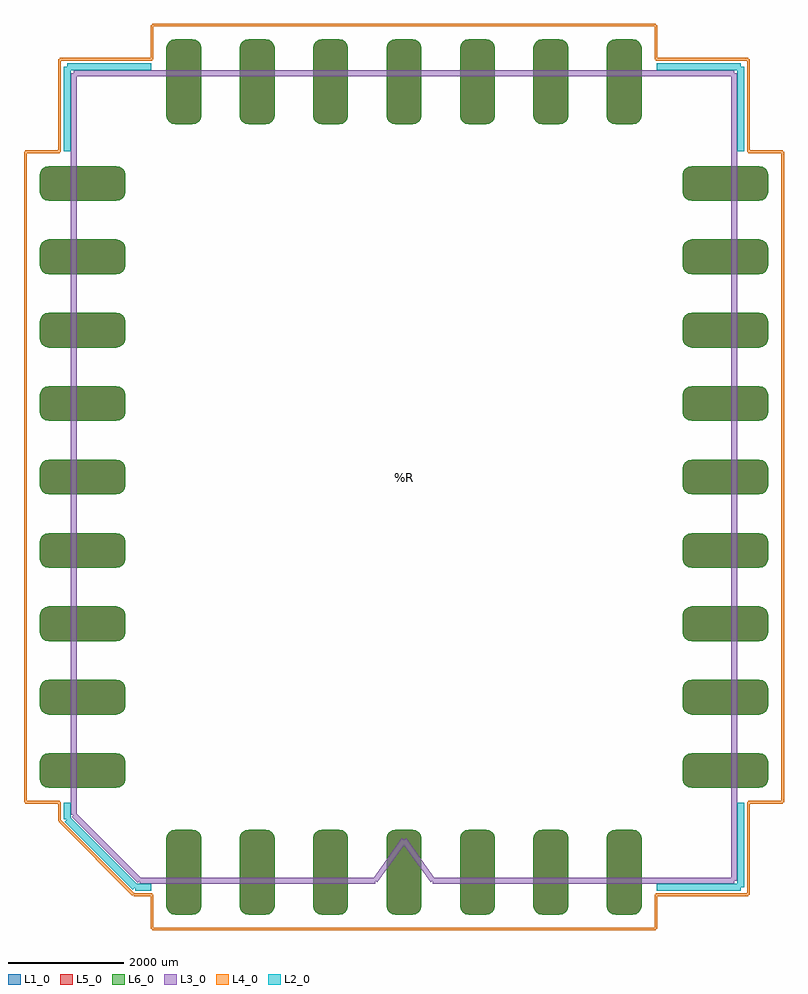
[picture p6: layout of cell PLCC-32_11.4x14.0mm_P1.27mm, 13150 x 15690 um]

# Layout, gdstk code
import gdstk
lib = gdstk.Library(unit=1e-6, precision=1e-09)
def P(c, l, *ps):  # polygons
    for p in ps: c.add(gdstk.Polygon(p, *l))
L1_0 = (1, 0)
L2_0 = (2, 0)
L3_0 = (3, 0)
L4_0 = (4, 0)
L5_0 = (5, 0)
L6_0 = (6, 0)

plcc_32_11_4x14_0mm_p1_2 = lib.new_cell('PLCC-32_11.4x14.0mm_P1.27mm')
P(plcc_32_11_4x14_0mm_p1_2, L1_0, [(150,-7575),(207,-7564),(256,-7531),(289,-7482),(300,-7425),(300,-6250),(289,-6193),(256,-6144),(207,-6111),(150,-6100),(-150,-6100),(-207,-6111),(-256,-6144),(-289,-6193),(-300,-6250),(-300,-7425),(-289,-7482),(-256,-7531),(-207,-7564),(-150,-7575)],
  [(-1120,-7575),(-1063,-7564),(-1014,-7531),(-981,-7482),(-970,-7425),(-970,-6250),(-981,-6193),(-1014,-6144),(-1063,-6111),(-1120,-6100),(-1420,-6100),(-1477,-6111),(-1526,-6144),(-1559,-6193),(-1570,-6250),(-1570,-7425),(-1559,-7482),(-1526,-7531),(-1477,-7564),(-1420,-7575)],
  [(-2390,-7575),(-2333,-7564),(-2284,-7531),(-2251,-7482),(-2240,-7425),(-2240,-6250),(-2251,-6193),(-2284,-6144),(-2333,-6111),(-2390,-6100),(-2690,-6100),(-2747,-6111),(-2796,-6144),(-2829,-6193),(-2840,-6250),(-2840,-7425),(-2829,-7482),(-2796,-7531),(-2747,-7564),(-2690,-7575)],
  [(-3660,-7575),(-3603,-7564),(-3554,-7531),(-3521,-7482),(-3510,-7425),(-3510,-6250),(-3521,-6193),(-3554,-6144),(-3603,-6111),(-3660,-6100),(-3960,-6100),(-4017,-6111),(-4066,-6144),(-4099,-6193),(-4110,-6250),(-4110,-7425),(-4099,-7482),(-4066,-7531),(-4017,-7564),(-3960,-7575)],
  [(-4975,-5380),(-4918,-5369),(-4869,-5336),(-4836,-5287),(-4825,-5230),(-4825,-4930),(-4836,-4873),(-4869,-4824),(-4918,-4791),(-4975,-4780),(-6150,-4780),(-6207,-4791),(-6256,-4824),(-6289,-4873),(-6300,-4930),(-6300,-5230),(-6289,-5287),(-6256,-5336),(-6207,-5369),(-6150,-5380)],
  [(-4975,-4110),(-4918,-4099),(-4869,-4066),(-4836,-4017),(-4825,-3960),(-4825,-3660),(-4836,-3603),(-4869,-3554),(-4918,-3521),(-4975,-3510),(-6150,-3510),(-6207,-3521),(-6256,-3554),(-6289,-3603),(-6300,-3660),(-6300,-3960),(-6289,-4017),(-6256,-4066),(-6207,-4099),(-6150,-4110)],
  [(-4975,-2840),(-4918,-2829),(-4869,-2796),(-4836,-2747),(-4825,-2690),(-4825,-2390),(-4836,-2333),(-4869,-2284),(-4918,-2251),(-4975,-2240),(-6150,-2240),(-6207,-2251),(-6256,-2284),(-6289,-2333),(-6300,-2390),(-6300,-2690),(-6289,-2747),(-6256,-2796),(-6207,-2829),(-6150,-2840)],
  [(-4975,-1570),(-4918,-1559),(-4869,-1526),(-4836,-1477),(-4825,-1420),(-4825,-1120),(-4836,-1063),(-4869,-1014),(-4918,-981),(-4975,-970),(-6150,-970),(-6207,-981),(-6256,-1014),(-6289,-1063),(-6300,-1120),(-6300,-1420),(-6289,-1477),(-6256,-1526),(-6207,-1559),(-6150,-1570)],
  [(-4975,-300),(-4918,-289),(-4869,-256),(-4836,-207),(-4825,-150),(-4825,150),(-4836,207),(-4869,256),(-4918,289),(-4975,300),(-6150,300),(-6207,289),(-6256,256),(-6289,207),(-6300,150),(-6300,-150),(-6289,-207),(-6256,-256),(-6207,-289),(-6150,-300)],
  [(-4975,970),(-4918,981),(-4869,1014),(-4836,1063),(-4825,1120),(-4825,1420),(-4836,1477),(-4869,1526),(-4918,1559),(-4975,1570),(-6150,1570),(-6207,1559),(-6256,1526),(-6289,1477),(-6300,1420),(-6300,1120),(-6289,1063),(-6256,1014),(-6207,981),(-6150,970)],
  [(-4975,2240),(-4918,2251),(-4869,2284),(-4836,2333),(-4825,2390),(-4825,2690),(-4836,2747),(-4869,2796),(-4918,2829),(-4975,2840),(-6150,2840),(-6207,2829),(-6256,2796),(-6289,2747),(-6300,2690),(-6300,2390),(-6289,2333),(-6256,2284),(-6207,2251),(-6150,2240)],
  [(-4975,3510),(-4918,3521),(-4869,3554),(-4836,3603),(-4825,3660),(-4825,3960),(-4836,4017),(-4869,4066),(-4918,4099),(-4975,4110),(-6150,4110),(-6207,4099),(-6256,4066),(-6289,4017),(-6300,3960),(-6300,3660),(-6289,3603),(-6256,3554),(-6207,3521),(-6150,3510)],
  [(-4975,4780),(-4918,4791),(-4869,4824),(-4836,4873),(-4825,4930),(-4825,5230),(-4836,5287),(-4869,5336),(-4918,5369),(-4975,5380),(-6150,5380),(-6207,5369),(-6256,5336),(-6289,5287),(-6300,5230),(-6300,4930),(-6289,4873),(-6256,4824),(-6207,4791),(-6150,4780)],
  [(-3660,6100),(-3603,6111),(-3554,6144),(-3521,6193),(-3510,6250),(-3510,7425),(-3521,7482),(-3554,7531),(-3603,7564),(-3660,7575),(-3960,7575),(-4017,7564),(-4066,7531),(-4099,7482),(-4110,7425),(-4110,6250),(-4099,6193),(-4066,6144),(-4017,6111),(-3960,6100)],
  [(-2390,6100),(-2333,6111),(-2284,6144),(-2251,6193),(-2240,6250),(-2240,7425),(-2251,7482),(-2284,7531),(-2333,7564),(-2390,7575),(-2690,7575),(-2747,7564),(-2796,7531),(-2829,7482),(-2840,7425),(-2840,6250),(-2829,6193),(-2796,6144),(-2747,6111),(-2690,6100)],
  [(-1120,6100),(-1063,6111),(-1014,6144),(-981,6193),(-970,6250),(-970,7425),(-981,7482),(-1014,7531),(-1063,7564),(-1120,7575),(-1420,7575),(-1477,7564),(-1526,7531),(-1559,7482),(-1570,7425),(-1570,6250),(-1559,6193),(-1526,6144),(-1477,6111),(-1420,6100)],
  [(150,6100),(207,6111),(256,6144),(289,6193),(300,6250),(300,7425),(289,7482),(256,7531),(207,7564),(150,7575),(-150,7575),(-207,7564),(-256,7531),(-289,7482),(-300,7425),(-300,6250),(-289,6193),(-256,6144),(-207,6111),(-150,6100)],
  [(1420,6100),(1477,6111),(1526,6144),(1559,6193),(1570,6250),(1570,7425),(1559,7482),(1526,7531),(1477,7564),(1420,7575),(1120,7575),(1063,7564),(1014,7531),(981,7482),(970,7425),(970,6250),(981,6193),(1014,6144),(1063,6111),(1120,6100)],
  [(2690,6100),(2747,6111),(2796,6144),(2829,6193),(2840,6250),(2840,7425),(2829,7482),(2796,7531),(2747,7564),(2690,7575),(2390,7575),(2333,7564),(2284,7531),(2251,7482),(2240,7425),(2240,6250),(2251,6193),(2284,6144),(2333,6111),(2390,6100)],
  [(3960,6100),(4017,6111),(4066,6144),(4099,6193),(4110,6250),(4110,7425),(4099,7482),(4066,7531),(4017,7564),(3960,7575),(3660,7575),(3603,7564),(3554,7531),(3521,7482),(3510,7425),(3510,6250),(3521,6193),(3554,6144),(3603,6111),(3660,6100)],
  [(6150,4780),(6207,4791),(6256,4824),(6289,4873),(6300,4930),(6300,5230),(6289,5287),(6256,5336),(6207,5369),(6150,5380),(4975,5380),(4918,5369),(4869,5336),(4836,5287),(4825,5230),(4825,4930),(4836,4873),(4869,4824),(4918,4791),(4975,4780)],
  [(6150,3510),(6207,3521),(6256,3554),(6289,3603),(6300,3660),(6300,3960),(6289,4017),(6256,4066),(6207,4099),(6150,4110),(4975,4110),(4918,4099),(4869,4066),(4836,4017),(4825,3960),(4825,3660),(4836,3603),(4869,3554),(4918,3521),(4975,3510)],
  [(6150,2240),(6207,2251),(6256,2284),(6289,2333),(6300,2390),(6300,2690),(6289,2747),(6256,2796),(6207,2829),(6150,2840),(4975,2840),(4918,2829),(4869,2796),(4836,2747),(4825,2690),(4825,2390),(4836,2333),(4869,2284),(4918,2251),(4975,2240)],
  [(6150,970),(6207,981),(6256,1014),(6289,1063),(6300,1120),(6300,1420),(6289,1477),(6256,1526),(6207,1559),(6150,1570),(4975,1570),(4918,1559),(4869,1526),(4836,1477),(4825,1420),(4825,1120),(4836,1063),(4869,1014),(4918,981),(4975,970)],
  [(6150,-300),(6207,-289),(6256,-256),(6289,-207),(6300,-150),(6300,150),(6289,207),(6256,256),(6207,289),(6150,300),(4975,300),(4918,289),(4869,256),(4836,207),(4825,150),(4825,-150),(4836,-207),(4869,-256),(4918,-289),(4975,-300)],
  [(6150,-1570),(6207,-1559),(6256,-1526),(6289,-1477),(6300,-1420),(6300,-1120),(6289,-1063),(6256,-1014),(6207,-981),(6150,-970),(4975,-970),(4918,-981),(4869,-1014),(4836,-1063),(4825,-1120),(4825,-1420),(4836,-1477),(4869,-1526),(4918,-1559),(4975,-1570)],
  [(6150,-2840),(6207,-2829),(6256,-2796),(6289,-2747),(6300,-2690),(6300,-2390),(6289,-2333),(6256,-2284),(6207,-2251),(6150,-2240),(4975,-2240),(4918,-2251),(4869,-2284),(4836,-2333),(4825,-2390),(4825,-2690),(4836,-2747),(4869,-2796),(4918,-2829),(4975,-2840)],
  [(6150,-4110),(6207,-4099),(6256,-4066),(6289,-4017),(6300,-3960),(6300,-3660),(6289,-3603),(6256,-3554),(6207,-3521),(6150,-3510),(4975,-3510),(4918,-3521),(4869,-3554),(4836,-3603),(4825,-3660),(4825,-3960),(4836,-4017),(4869,-4066),(4918,-4099),(4975,-4110)],
  [(6150,-5380),(6207,-5369),(6256,-5336),(6289,-5287),(6300,-5230),(6300,-4930),(6289,-4873),(6256,-4824),(6207,-4791),(6150,-4780),(4975,-4780),(4918,-4791),(4869,-4824),(4836,-4873),(4825,-4930),(4825,-5230),(4836,-5287),(4869,-5336),(4918,-5369),(4975,-5380)],
  [(3960,-7575),(4017,-7564),(4066,-7531),(4099,-7482),(4110,-7425),(4110,-6250),(4099,-6193),(4066,-6144),(4017,-6111),(3960,-6100),(3660,-6100),(3603,-6111),(3554,-6144),(3521,-6193),(3510,-6250),(3510,-7425),(3521,-7482),(3554,-7531),(3603,-7564),(3660,-7575)],
  [(2690,-7575),(2747,-7564),(2796,-7531),(2829,-7482),(2840,-7425),(2840,-6250),(2829,-6193),(2796,-6144),(2747,-6111),(2690,-6100),(2390,-6100),(2333,-6111),(2284,-6144),(2251,-6193),(2240,-6250),(2240,-7425),(2251,-7482),(2284,-7531),(2333,-7564),(2390,-7575)],
  [(1420,-7575),(1477,-7564),(1526,-7531),(1559,-7482),(1570,-7425),(1570,-6250),(1559,-6193),(1526,-6144),(1477,-6111),(1420,-6100),(1120,-6100),(1063,-6111),(1014,-6144),(981,-6193),(970,-6250),(970,-7425),(981,-7482),(1014,-7531),(1063,-7564),(1120,-7575)])
P(plcc_32_11_4x14_0mm_p1_2, L5_0, [(150,-7575),(207,-7564),(256,-7531),(289,-7482),(300,-7425),(300,-6250),(289,-6193),(256,-6144),(207,-6111),(150,-6100),(-150,-6100),(-207,-6111),(-256,-6144),(-289,-6193),(-300,-6250),(-300,-7425),(-289,-7482),(-256,-7531),(-207,-7564),(-150,-7575)],
  [(-1120,-7575),(-1063,-7564),(-1014,-7531),(-981,-7482),(-970,-7425),(-970,-6250),(-981,-6193),(-1014,-6144),(-1063,-6111),(-1120,-6100),(-1420,-6100),(-1477,-6111),(-1526,-6144),(-1559,-6193),(-1570,-6250),(-1570,-7425),(-1559,-7482),(-1526,-7531),(-1477,-7564),(-1420,-7575)],
  [(-2390,-7575),(-2333,-7564),(-2284,-7531),(-2251,-7482),(-2240,-7425),(-2240,-6250),(-2251,-6193),(-2284,-6144),(-2333,-6111),(-2390,-6100),(-2690,-6100),(-2747,-6111),(-2796,-6144),(-2829,-6193),(-2840,-6250),(-2840,-7425),(-2829,-7482),(-2796,-7531),(-2747,-7564),(-2690,-7575)],
  [(-3660,-7575),(-3603,-7564),(-3554,-7531),(-3521,-7482),(-3510,-7425),(-3510,-6250),(-3521,-6193),(-3554,-6144),(-3603,-6111),(-3660,-6100),(-3960,-6100),(-4017,-6111),(-4066,-6144),(-4099,-6193),(-4110,-6250),(-4110,-7425),(-4099,-7482),(-4066,-7531),(-4017,-7564),(-3960,-7575)],
  [(-4975,-5380),(-4918,-5369),(-4869,-5336),(-4836,-5287),(-4825,-5230),(-4825,-4930),(-4836,-4873),(-4869,-4824),(-4918,-4791),(-4975,-4780),(-6150,-4780),(-6207,-4791),(-6256,-4824),(-6289,-4873),(-6300,-4930),(-6300,-5230),(-6289,-5287),(-6256,-5336),(-6207,-5369),(-6150,-5380)],
  [(-4975,-4110),(-4918,-4099),(-4869,-4066),(-4836,-4017),(-4825,-3960),(-4825,-3660),(-4836,-3603),(-4869,-3554),(-4918,-3521),(-4975,-3510),(-6150,-3510),(-6207,-3521),(-6256,-3554),(-6289,-3603),(-6300,-3660),(-6300,-3960),(-6289,-4017),(-6256,-4066),(-6207,-4099),(-6150,-4110)],
  [(-4975,-2840),(-4918,-2829),(-4869,-2796),(-4836,-2747),(-4825,-2690),(-4825,-2390),(-4836,-2333),(-4869,-2284),(-4918,-2251),(-4975,-2240),(-6150,-2240),(-6207,-2251),(-6256,-2284),(-6289,-2333),(-6300,-2390),(-6300,-2690),(-6289,-2747),(-6256,-2796),(-6207,-2829),(-6150,-2840)],
  [(-4975,-1570),(-4918,-1559),(-4869,-1526),(-4836,-1477),(-4825,-1420),(-4825,-1120),(-4836,-1063),(-4869,-1014),(-4918,-981),(-4975,-970),(-6150,-970),(-6207,-981),(-6256,-1014),(-6289,-1063),(-6300,-1120),(-6300,-1420),(-6289,-1477),(-6256,-1526),(-6207,-1559),(-6150,-1570)],
  [(-4975,-300),(-4918,-289),(-4869,-256),(-4836,-207),(-4825,-150),(-4825,150),(-4836,207),(-4869,256),(-4918,289),(-4975,300),(-6150,300),(-6207,289),(-6256,256),(-6289,207),(-6300,150),(-6300,-150),(-6289,-207),(-6256,-256),(-6207,-289),(-6150,-300)],
  [(-4975,970),(-4918,981),(-4869,1014),(-4836,1063),(-4825,1120),(-4825,1420),(-4836,1477),(-4869,1526),(-4918,1559),(-4975,1570),(-6150,1570),(-6207,1559),(-6256,1526),(-6289,1477),(-6300,1420),(-6300,1120),(-6289,1063),(-6256,1014),(-6207,981),(-6150,970)],
  [(-4975,2240),(-4918,2251),(-4869,2284),(-4836,2333),(-4825,2390),(-4825,2690),(-4836,2747),(-4869,2796),(-4918,2829),(-4975,2840),(-6150,2840),(-6207,2829),(-6256,2796),(-6289,2747),(-6300,2690),(-6300,2390),(-6289,2333),(-6256,2284),(-6207,2251),(-6150,2240)],
  [(-4975,3510),(-4918,3521),(-4869,3554),(-4836,3603),(-4825,3660),(-4825,3960),(-4836,4017),(-4869,4066),(-4918,4099),(-4975,4110),(-6150,4110),(-6207,4099),(-6256,4066),(-6289,4017),(-6300,3960),(-6300,3660),(-6289,3603),(-6256,3554),(-6207,3521),(-6150,3510)],
  [(-4975,4780),(-4918,4791),(-4869,4824),(-4836,4873),(-4825,4930),(-4825,5230),(-4836,5287),(-4869,5336),(-4918,5369),(-4975,5380),(-6150,5380),(-6207,5369),(-6256,5336),(-6289,5287),(-6300,5230),(-6300,4930),(-6289,4873),(-6256,4824),(-6207,4791),(-6150,4780)],
  [(-3660,6100),(-3603,6111),(-3554,6144),(-3521,6193),(-3510,6250),(-3510,7425),(-3521,7482),(-3554,7531),(-3603,7564),(-3660,7575),(-3960,7575),(-4017,7564),(-4066,7531),(-4099,7482),(-4110,7425),(-4110,6250),(-4099,6193),(-4066,6144),(-4017,6111),(-3960,6100)],
  [(-2390,6100),(-2333,6111),(-2284,6144),(-2251,6193),(-2240,6250),(-2240,7425),(-2251,7482),(-2284,7531),(-2333,7564),(-2390,7575),(-2690,7575),(-2747,7564),(-2796,7531),(-2829,7482),(-2840,7425),(-2840,6250),(-2829,6193),(-2796,6144),(-2747,6111),(-2690,6100)],
  [(-1120,6100),(-1063,6111),(-1014,6144),(-981,6193),(-970,6250),(-970,7425),(-981,7482),(-1014,7531),(-1063,7564),(-1120,7575),(-1420,7575),(-1477,7564),(-1526,7531),(-1559,7482),(-1570,7425),(-1570,6250),(-1559,6193),(-1526,6144),(-1477,6111),(-1420,6100)],
  [(150,6100),(207,6111),(256,6144),(289,6193),(300,6250),(300,7425),(289,7482),(256,7531),(207,7564),(150,7575),(-150,7575),(-207,7564),(-256,7531),(-289,7482),(-300,7425),(-300,6250),(-289,6193),(-256,6144),(-207,6111),(-150,6100)],
  [(1420,6100),(1477,6111),(1526,6144),(1559,6193),(1570,6250),(1570,7425),(1559,7482),(1526,7531),(1477,7564),(1420,7575),(1120,7575),(1063,7564),(1014,7531),(981,7482),(970,7425),(970,6250),(981,6193),(1014,6144),(1063,6111),(1120,6100)],
  [(2690,6100),(2747,6111),(2796,6144),(2829,6193),(2840,6250),(2840,7425),(2829,7482),(2796,7531),(2747,7564),(2690,7575),(2390,7575),(2333,7564),(2284,7531),(2251,7482),(2240,7425),(2240,6250),(2251,6193),(2284,6144),(2333,6111),(2390,6100)],
  [(3960,6100),(4017,6111),(4066,6144),(4099,6193),(4110,6250),(4110,7425),(4099,7482),(4066,7531),(4017,7564),(3960,7575),(3660,7575),(3603,7564),(3554,7531),(3521,7482),(3510,7425),(3510,6250),(3521,6193),(3554,6144),(3603,6111),(3660,6100)],
  [(6150,4780),(6207,4791),(6256,4824),(6289,4873),(6300,4930),(6300,5230),(6289,5287),(6256,5336),(6207,5369),(6150,5380),(4975,5380),(4918,5369),(4869,5336),(4836,5287),(4825,5230),(4825,4930),(4836,4873),(4869,4824),(4918,4791),(4975,4780)],
  [(6150,3510),(6207,3521),(6256,3554),(6289,3603),(6300,3660),(6300,3960),(6289,4017),(6256,4066),(6207,4099),(6150,4110),(4975,4110),(4918,4099),(4869,4066),(4836,4017),(4825,3960),(4825,3660),(4836,3603),(4869,3554),(4918,3521),(4975,3510)],
  [(6150,2240),(6207,2251),(6256,2284),(6289,2333),(6300,2390),(6300,2690),(6289,2747),(6256,2796),(6207,2829),(6150,2840),(4975,2840),(4918,2829),(4869,2796),(4836,2747),(4825,2690),(4825,2390),(4836,2333),(4869,2284),(4918,2251),(4975,2240)],
  [(6150,970),(6207,981),(6256,1014),(6289,1063),(6300,1120),(6300,1420),(6289,1477),(6256,1526),(6207,1559),(6150,1570),(4975,1570),(4918,1559),(4869,1526),(4836,1477),(4825,1420),(4825,1120),(4836,1063),(4869,1014),(4918,981),(4975,970)],
  [(6150,-300),(6207,-289),(6256,-256),(6289,-207),(6300,-150),(6300,150),(6289,207),(6256,256),(6207,289),(6150,300),(4975,300),(4918,289),(4869,256),(4836,207),(4825,150),(4825,-150),(4836,-207),(4869,-256),(4918,-289),(4975,-300)],
  [(6150,-1570),(6207,-1559),(6256,-1526),(6289,-1477),(6300,-1420),(6300,-1120),(6289,-1063),(6256,-1014),(6207,-981),(6150,-970),(4975,-970),(4918,-981),(4869,-1014),(4836,-1063),(4825,-1120),(4825,-1420),(4836,-1477),(4869,-1526),(4918,-1559),(4975,-1570)],
  [(6150,-2840),(6207,-2829),(6256,-2796),(6289,-2747),(6300,-2690),(6300,-2390),(6289,-2333),(6256,-2284),(6207,-2251),(6150,-2240),(4975,-2240),(4918,-2251),(4869,-2284),(4836,-2333),(4825,-2390),(4825,-2690),(4836,-2747),(4869,-2796),(4918,-2829),(4975,-2840)],
  [(6150,-4110),(6207,-4099),(6256,-4066),(6289,-4017),(6300,-3960),(6300,-3660),(6289,-3603),(6256,-3554),(6207,-3521),(6150,-3510),(4975,-3510),(4918,-3521),(4869,-3554),(4836,-3603),(4825,-3660),(4825,-3960),(4836,-4017),(4869,-4066),(4918,-4099),(4975,-4110)],
  [(6150,-5380),(6207,-5369),(6256,-5336),(6289,-5287),(6300,-5230),(6300,-4930),(6289,-4873),(6256,-4824),(6207,-4791),(6150,-4780),(4975,-4780),(4918,-4791),(4869,-4824),(4836,-4873),(4825,-4930),(4825,-5230),(4836,-5287),(4869,-5336),(4918,-5369),(4975,-5380)],
  [(3960,-7575),(4017,-7564),(4066,-7531),(4099,-7482),(4110,-7425),(4110,-6250),(4099,-6193),(4066,-6144),(4017,-6111),(3960,-6100),(3660,-6100),(3603,-6111),(3554,-6144),(3521,-6193),(3510,-6250),(3510,-7425),(3521,-7482),(3554,-7531),(3603,-7564),(3660,-7575)],
  [(2690,-7575),(2747,-7564),(2796,-7531),(2829,-7482),(2840,-7425),(2840,-6250),(2829,-6193),(2796,-6144),(2747,-6111),(2690,-6100),(2390,-6100),(2333,-6111),(2284,-6144),(2251,-6193),(2240,-6250),(2240,-7425),(2251,-7482),(2284,-7531),(2333,-7564),(2390,-7575)],
  [(1420,-7575),(1477,-7564),(1526,-7531),(1559,-7482),(1570,-7425),(1570,-6250),(1559,-6193),(1526,-6144),(1477,-6111),(1420,-6100),(1120,-6100),(1063,-6111),(1014,-6144),(981,-6193),(970,-6250),(970,-7425),(981,-7482),(1014,-7531),(1063,-7564),(1120,-7575)])
P(plcc_32_11_4x14_0mm_p1_2, L6_0, [(150,-7575),(207,-7564),(256,-7531),(289,-7482),(300,-7425),(300,-6250),(289,-6193),(256,-6144),(207,-6111),(150,-6100),(-150,-6100),(-207,-6111),(-256,-6144),(-289,-6193),(-300,-6250),(-300,-7425),(-289,-7482),(-256,-7531),(-207,-7564),(-150,-7575)],
  [(-1120,-7575),(-1063,-7564),(-1014,-7531),(-981,-7482),(-970,-7425),(-970,-6250),(-981,-6193),(-1014,-6144),(-1063,-6111),(-1120,-6100),(-1420,-6100),(-1477,-6111),(-1526,-6144),(-1559,-6193),(-1570,-6250),(-1570,-7425),(-1559,-7482),(-1526,-7531),(-1477,-7564),(-1420,-7575)],
  [(-2390,-7575),(-2333,-7564),(-2284,-7531),(-2251,-7482),(-2240,-7425),(-2240,-6250),(-2251,-6193),(-2284,-6144),(-2333,-6111),(-2390,-6100),(-2690,-6100),(-2747,-6111),(-2796,-6144),(-2829,-6193),(-2840,-6250),(-2840,-7425),(-2829,-7482),(-2796,-7531),(-2747,-7564),(-2690,-7575)],
  [(-3660,-7575),(-3603,-7564),(-3554,-7531),(-3521,-7482),(-3510,-7425),(-3510,-6250),(-3521,-6193),(-3554,-6144),(-3603,-6111),(-3660,-6100),(-3960,-6100),(-4017,-6111),(-4066,-6144),(-4099,-6193),(-4110,-6250),(-4110,-7425),(-4099,-7482),(-4066,-7531),(-4017,-7564),(-3960,-7575)],
  [(-4975,-5380),(-4918,-5369),(-4869,-5336),(-4836,-5287),(-4825,-5230),(-4825,-4930),(-4836,-4873),(-4869,-4824),(-4918,-4791),(-4975,-4780),(-6150,-4780),(-6207,-4791),(-6256,-4824),(-6289,-4873),(-6300,-4930),(-6300,-5230),(-6289,-5287),(-6256,-5336),(-6207,-5369),(-6150,-5380)],
  [(-4975,-4110),(-4918,-4099),(-4869,-4066),(-4836,-4017),(-4825,-3960),(-4825,-3660),(-4836,-3603),(-4869,-3554),(-4918,-3521),(-4975,-3510),(-6150,-3510),(-6207,-3521),(-6256,-3554),(-6289,-3603),(-6300,-3660),(-6300,-3960),(-6289,-4017),(-6256,-4066),(-6207,-4099),(-6150,-4110)],
  [(-4975,-2840),(-4918,-2829),(-4869,-2796),(-4836,-2747),(-4825,-2690),(-4825,-2390),(-4836,-2333),(-4869,-2284),(-4918,-2251),(-4975,-2240),(-6150,-2240),(-6207,-2251),(-6256,-2284),(-6289,-2333),(-6300,-2390),(-6300,-2690),(-6289,-2747),(-6256,-2796),(-6207,-2829),(-6150,-2840)],
  [(-4975,-1570),(-4918,-1559),(-4869,-1526),(-4836,-1477),(-4825,-1420),(-4825,-1120),(-4836,-1063),(-4869,-1014),(-4918,-981),(-4975,-970),(-6150,-970),(-6207,-981),(-6256,-1014),(-6289,-1063),(-6300,-1120),(-6300,-1420),(-6289,-1477),(-6256,-1526),(-6207,-1559),(-6150,-1570)],
  [(-4975,-300),(-4918,-289),(-4869,-256),(-4836,-207),(-4825,-150),(-4825,150),(-4836,207),(-4869,256),(-4918,289),(-4975,300),(-6150,300),(-6207,289),(-6256,256),(-6289,207),(-6300,150),(-6300,-150),(-6289,-207),(-6256,-256),(-6207,-289),(-6150,-300)],
  [(-4975,970),(-4918,981),(-4869,1014),(-4836,1063),(-4825,1120),(-4825,1420),(-4836,1477),(-4869,1526),(-4918,1559),(-4975,1570),(-6150,1570),(-6207,1559),(-6256,1526),(-6289,1477),(-6300,1420),(-6300,1120),(-6289,1063),(-6256,1014),(-6207,981),(-6150,970)],
  [(-4975,2240),(-4918,2251),(-4869,2284),(-4836,2333),(-4825,2390),(-4825,2690),(-4836,2747),(-4869,2796),(-4918,2829),(-4975,2840),(-6150,2840),(-6207,2829),(-6256,2796),(-6289,2747),(-6300,2690),(-6300,2390),(-6289,2333),(-6256,2284),(-6207,2251),(-6150,2240)],
  [(-4975,3510),(-4918,3521),(-4869,3554),(-4836,3603),(-4825,3660),(-4825,3960),(-4836,4017),(-4869,4066),(-4918,4099),(-4975,4110),(-6150,4110),(-6207,4099),(-6256,4066),(-6289,4017),(-6300,3960),(-6300,3660),(-6289,3603),(-6256,3554),(-6207,3521),(-6150,3510)],
  [(-4975,4780),(-4918,4791),(-4869,4824),(-4836,4873),(-4825,4930),(-4825,5230),(-4836,5287),(-4869,5336),(-4918,5369),(-4975,5380),(-6150,5380),(-6207,5369),(-6256,5336),(-6289,5287),(-6300,5230),(-6300,4930),(-6289,4873),(-6256,4824),(-6207,4791),(-6150,4780)],
  [(-3660,6100),(-3603,6111),(-3554,6144),(-3521,6193),(-3510,6250),(-3510,7425),(-3521,7482),(-3554,7531),(-3603,7564),(-3660,7575),(-3960,7575),(-4017,7564),(-4066,7531),(-4099,7482),(-4110,7425),(-4110,6250),(-4099,6193),(-4066,6144),(-4017,6111),(-3960,6100)],
  [(-2390,6100),(-2333,6111),(-2284,6144),(-2251,6193),(-2240,6250),(-2240,7425),(-2251,7482),(-2284,7531),(-2333,7564),(-2390,7575),(-2690,7575),(-2747,7564),(-2796,7531),(-2829,7482),(-2840,7425),(-2840,6250),(-2829,6193),(-2796,6144),(-2747,6111),(-2690,6100)],
  [(-1120,6100),(-1063,6111),(-1014,6144),(-981,6193),(-970,6250),(-970,7425),(-981,7482),(-1014,7531),(-1063,7564),(-1120,7575),(-1420,7575),(-1477,7564),(-1526,7531),(-1559,7482),(-1570,7425),(-1570,6250),(-1559,6193),(-1526,6144),(-1477,6111),(-1420,6100)],
  [(150,6100),(207,6111),(256,6144),(289,6193),(300,6250),(300,7425),(289,7482),(256,7531),(207,7564),(150,7575),(-150,7575),(-207,7564),(-256,7531),(-289,7482),(-300,7425),(-300,6250),(-289,6193),(-256,6144),(-207,6111),(-150,6100)],
  [(1420,6100),(1477,6111),(1526,6144),(1559,6193),(1570,6250),(1570,7425),(1559,7482),(1526,7531),(1477,7564),(1420,7575),(1120,7575),(1063,7564),(1014,7531),(981,7482),(970,7425),(970,6250),(981,6193),(1014,6144),(1063,6111),(1120,6100)],
  [(2690,6100),(2747,6111),(2796,6144),(2829,6193),(2840,6250),(2840,7425),(2829,7482),(2796,7531),(2747,7564),(2690,7575),(2390,7575),(2333,7564),(2284,7531),(2251,7482),(2240,7425),(2240,6250),(2251,6193),(2284,6144),(2333,6111),(2390,6100)],
  [(3960,6100),(4017,6111),(4066,6144),(4099,6193),(4110,6250),(4110,7425),(4099,7482),(4066,7531),(4017,7564),(3960,7575),(3660,7575),(3603,7564),(3554,7531),(3521,7482),(3510,7425),(3510,6250),(3521,6193),(3554,6144),(3603,6111),(3660,6100)],
  [(6150,4780),(6207,4791),(6256,4824),(6289,4873),(6300,4930),(6300,5230),(6289,5287),(6256,5336),(6207,5369),(6150,5380),(4975,5380),(4918,5369),(4869,5336),(4836,5287),(4825,5230),(4825,4930),(4836,4873),(4869,4824),(4918,4791),(4975,4780)],
  [(6150,3510),(6207,3521),(6256,3554),(6289,3603),(6300,3660),(6300,3960),(6289,4017),(6256,4066),(6207,4099),(6150,4110),(4975,4110),(4918,4099),(4869,4066),(4836,4017),(4825,3960),(4825,3660),(4836,3603),(4869,3554),(4918,3521),(4975,3510)],
  [(6150,2240),(6207,2251),(6256,2284),(6289,2333),(6300,2390),(6300,2690),(6289,2747),(6256,2796),(6207,2829),(6150,2840),(4975,2840),(4918,2829),(4869,2796),(4836,2747),(4825,2690),(4825,2390),(4836,2333),(4869,2284),(4918,2251),(4975,2240)],
  [(6150,970),(6207,981),(6256,1014),(6289,1063),(6300,1120),(6300,1420),(6289,1477),(6256,1526),(6207,1559),(6150,1570),(4975,1570),(4918,1559),(4869,1526),(4836,1477),(4825,1420),(4825,1120),(4836,1063),(4869,1014),(4918,981),(4975,970)],
  [(6150,-300),(6207,-289),(6256,-256),(6289,-207),(6300,-150),(6300,150),(6289,207),(6256,256),(6207,289),(6150,300),(4975,300),(4918,289),(4869,256),(4836,207),(4825,150),(4825,-150),(4836,-207),(4869,-256),(4918,-289),(4975,-300)],
  [(6150,-1570),(6207,-1559),(6256,-1526),(6289,-1477),(6300,-1420),(6300,-1120),(6289,-1063),(6256,-1014),(6207,-981),(6150,-970),(4975,-970),(4918,-981),(4869,-1014),(4836,-1063),(4825,-1120),(4825,-1420),(4836,-1477),(4869,-1526),(4918,-1559),(4975,-1570)],
  [(6150,-2840),(6207,-2829),(6256,-2796),(6289,-2747),(6300,-2690),(6300,-2390),(6289,-2333),(6256,-2284),(6207,-2251),(6150,-2240),(4975,-2240),(4918,-2251),(4869,-2284),(4836,-2333),(4825,-2390),(4825,-2690),(4836,-2747),(4869,-2796),(4918,-2829),(4975,-2840)],
  [(6150,-4110),(6207,-4099),(6256,-4066),(6289,-4017),(6300,-3960),(6300,-3660),(6289,-3603),(6256,-3554),(6207,-3521),(6150,-3510),(4975,-3510),(4918,-3521),(4869,-3554),(4836,-3603),(4825,-3660),(4825,-3960),(4836,-4017),(4869,-4066),(4918,-4099),(4975,-4110)],
  [(6150,-5380),(6207,-5369),(6256,-5336),(6289,-5287),(6300,-5230),(6300,-4930),(6289,-4873),(6256,-4824),(6207,-4791),(6150,-4780),(4975,-4780),(4918,-4791),(4869,-4824),(4836,-4873),(4825,-4930),(4825,-5230),(4836,-5287),(4869,-5336),(4918,-5369),(4975,-5380)],
  [(3960,-7575),(4017,-7564),(4066,-7531),(4099,-7482),(4110,-7425),(4110,-6250),(4099,-6193),(4066,-6144),(4017,-6111),(3960,-6100),(3660,-6100),(3603,-6111),(3554,-6144),(3521,-6193),(3510,-6250),(3510,-7425),(3521,-7482),(3554,-7531),(3603,-7564),(3660,-7575)],
  [(2690,-7575),(2747,-7564),(2796,-7531),(2829,-7482),(2840,-7425),(2840,-6250),(2829,-6193),(2796,-6144),(2747,-6111),(2690,-6100),(2390,-6100),(2333,-6111),(2284,-6144),(2251,-6193),(2240,-6250),(2240,-7425),(2251,-7482),(2284,-7531),(2333,-7564),(2390,-7575)],
  [(1420,-7575),(1477,-7564),(1526,-7531),(1559,-7482),(1570,-7425),(1570,-6250),(1559,-6193),(1526,-6144),(1477,-6111),(1420,-6100),(1120,-6100),(1063,-6111),(1014,-6144),(981,-6193),(970,-6250),(970,-7425),(981,-7482),(1014,-7531),(1063,-7564),(1120,-7575)])
plcc_32_11_4x14_0mm_p1_2.add(gdstk.FlexPath([(4370,-7095),(5825,-7095)], 120, ends="flush", simple_path=True, layer=2, datatype=0))  # L2_0
plcc_32_11_4x14_0mm_p1_2.add(gdstk.FlexPath([(5825,-7095),(5825,-5640)], 120, ends="flush", simple_path=True, layer=2, datatype=0))  # L2_0
plcc_32_11_4x14_0mm_p1_2.add(gdstk.FlexPath([(-4370,7095),(-5825,7095)], 120, ends="flush", simple_path=True, layer=2, datatype=0))  # L2_0
plcc_32_11_4x14_0mm_p1_2.add(gdstk.FlexPath([(-5825,7095),(-5825,5640)], 120, ends="flush", simple_path=True, layer=2, datatype=0))  # L2_0
plcc_32_11_4x14_0mm_p1_2.add(gdstk.FlexPath([(4370,7095),(5825,7095)], 120, ends="flush", simple_path=True, layer=2, datatype=0))  # L2_0
plcc_32_11_4x14_0mm_p1_2.add(gdstk.FlexPath([(5825,7095),(5825,5640)], 120, ends="flush", simple_path=True, layer=2, datatype=0))  # L2_0
plcc_32_11_4x14_0mm_p1_2.add(gdstk.FlexPath([(-4370,-7095),(-4653,-7095)], 120, ends="flush", simple_path=True, layer=2, datatype=0))  # L2_0
plcc_32_11_4x14_0mm_p1_2.add(gdstk.FlexPath([(-4653,-7095),(-5825,-5923)], 120, ends="flush", simple_path=True, layer=2, datatype=0))  # L2_0
plcc_32_11_4x14_0mm_p1_2.add(gdstk.FlexPath([(-5825,-5923),(-5825,-5640)], 120, ends="flush", simple_path=True, layer=2, datatype=0))  # L2_0
plcc_32_11_4x14_0mm_p1_2.add(gdstk.FlexPath([(0,-6278),(500,-6985)], 100, ends="flush", simple_path=True, layer=3, datatype=0))  # L3_0
plcc_32_11_4x14_0mm_p1_2.add(gdstk.FlexPath([(500,-6985),(5715,-6985)], 100, ends="flush", simple_path=True, layer=3, datatype=0))  # L3_0
plcc_32_11_4x14_0mm_p1_2.add(gdstk.FlexPath([(5715,-6985),(5715,6985)], 100, ends="flush", simple_path=True, layer=3, datatype=0))  # L3_0
plcc_32_11_4x14_0mm_p1_2.add(gdstk.FlexPath([(5715,6985),(-5715,6985)], 100, ends="flush", simple_path=True, layer=3, datatype=0))  # L3_0
plcc_32_11_4x14_0mm_p1_2.add(gdstk.FlexPath([(-5715,6985),(-5715,-5845)], 100, ends="flush", simple_path=True, layer=3, datatype=0))  # L3_0
plcc_32_11_4x14_0mm_p1_2.add(gdstk.FlexPath([(-5715,-5845),(-4575,-6985)], 100, ends="flush", simple_path=True, layer=3, datatype=0))  # L3_0
plcc_32_11_4x14_0mm_p1_2.add(gdstk.FlexPath([(-4575,-6985),(-500,-6985)], 100, ends="flush", simple_path=True, layer=3, datatype=0))  # L3_0
plcc_32_11_4x14_0mm_p1_2.add(gdstk.FlexPath([(-500,-6985),(0,-6278)], 100, ends="flush", simple_path=True, layer=3, datatype=0))  # L3_0
plcc_32_11_4x14_0mm_p1_2.add(gdstk.FlexPath([(0,-7820),(4360,-7820)], 50, ends="flush", simple_path=True, layer=4, datatype=0))  # L4_0
plcc_32_11_4x14_0mm_p1_2.add(gdstk.FlexPath([(4360,-7820),(4360,-7230)], 50, ends="flush", simple_path=True, layer=4, datatype=0))  # L4_0
plcc_32_11_4x14_0mm_p1_2.add(gdstk.FlexPath([(4360,-7230),(5960,-7230)], 50, ends="flush", simple_path=True, layer=4, datatype=0))  # L4_0
plcc_32_11_4x14_0mm_p1_2.add(gdstk.FlexPath([(5960,-7230),(5960,-5630)], 50, ends="flush", simple_path=True, layer=4, datatype=0))  # L4_0
plcc_32_11_4x14_0mm_p1_2.add(gdstk.FlexPath([(5960,-5630),(6550,-5630)], 50, ends="flush", simple_path=True, layer=4, datatype=0))  # L4_0
plcc_32_11_4x14_0mm_p1_2.add(gdstk.FlexPath([(6550,-5630),(6550,0)], 50, ends="flush", simple_path=True, layer=4, datatype=0))  # L4_0
plcc_32_11_4x14_0mm_p1_2.add(gdstk.FlexPath([(0,7820),(-4360,7820)], 50, ends="flush", simple_path=True, layer=4, datatype=0))  # L4_0
plcc_32_11_4x14_0mm_p1_2.add(gdstk.FlexPath([(-4360,7820),(-4360,7230)], 50, ends="flush", simple_path=True, layer=4, datatype=0))  # L4_0
plcc_32_11_4x14_0mm_p1_2.add(gdstk.FlexPath([(-4360,7230),(-5960,7230)], 50, ends="flush", simple_path=True, layer=4, datatype=0))  # L4_0
plcc_32_11_4x14_0mm_p1_2.add(gdstk.FlexPath([(-5960,7230),(-5960,5630)], 50, ends="flush", simple_path=True, layer=4, datatype=0))  # L4_0
plcc_32_11_4x14_0mm_p1_2.add(gdstk.FlexPath([(-5960,5630),(-6550,5630)], 50, ends="flush", simple_path=True, layer=4, datatype=0))  # L4_0
plcc_32_11_4x14_0mm_p1_2.add(gdstk.FlexPath([(-6550,5630),(-6550,0)], 50, ends="flush", simple_path=True, layer=4, datatype=0))  # L4_0
plcc_32_11_4x14_0mm_p1_2.add(gdstk.FlexPath([(0,7820),(4360,7820)], 50, ends="flush", simple_path=True, layer=4, datatype=0))  # L4_0
plcc_32_11_4x14_0mm_p1_2.add(gdstk.FlexPath([(4360,7820),(4360,7230)], 50, ends="flush", simple_path=True, layer=4, datatype=0))  # L4_0
plcc_32_11_4x14_0mm_p1_2.add(gdstk.FlexPath([(4360,7230),(5960,7230)], 50, ends="flush", simple_path=True, layer=4, datatype=0))  # L4_0
plcc_32_11_4x14_0mm_p1_2.add(gdstk.FlexPath([(5960,7230),(5960,5630)], 50, ends="flush", simple_path=True, layer=4, datatype=0))  # L4_0
plcc_32_11_4x14_0mm_p1_2.add(gdstk.FlexPath([(5960,5630),(6550,5630)], 50, ends="flush", simple_path=True, layer=4, datatype=0))  # L4_0
plcc_32_11_4x14_0mm_p1_2.add(gdstk.FlexPath([(6550,5630),(6550,0)], 50, ends="flush", simple_path=True, layer=4, datatype=0))  # L4_0
plcc_32_11_4x14_0mm_p1_2.add(gdstk.FlexPath([(0,-7820),(-4360,-7820)], 50, ends="flush", simple_path=True, layer=4, datatype=0))  # L4_0
plcc_32_11_4x14_0mm_p1_2.add(gdstk.FlexPath([(-4360,-7820),(-4360,-7230)], 50, ends="flush", simple_path=True, layer=4, datatype=0))  # L4_0
plcc_32_11_4x14_0mm_p1_2.add(gdstk.FlexPath([(-4360,-7230),(-4680,-7230)], 50, ends="flush", simple_path=True, layer=4, datatype=0))  # L4_0
plcc_32_11_4x14_0mm_p1_2.add(gdstk.FlexPath([(-4680,-7230),(-5960,-5950)], 50, ends="flush", simple_path=True, layer=4, datatype=0))  # L4_0
plcc_32_11_4x14_0mm_p1_2.add(gdstk.FlexPath([(-5960,-5950),(-5960,-5630)], 50, ends="flush", simple_path=True, layer=4, datatype=0))  # L4_0
plcc_32_11_4x14_0mm_p1_2.add(gdstk.FlexPath([(-5960,-5630),(-6550,-5630)], 50, ends="flush", simple_path=True, layer=4, datatype=0))  # L4_0
plcc_32_11_4x14_0mm_p1_2.add(gdstk.FlexPath([(-6550,-5630),(-6550,0)], 50, ends="flush", simple_path=True, layer=4, datatype=0))  # L4_0
plcc_32_11_4x14_0mm_p1_2.add(gdstk.Label('REF**', (0,-8520), layer=2, texttype=0))
plcc_32_11_4x14_0mm_p1_2.add(gdstk.Label('PLCC-32_11.4x14.0mm_P1.27mm', (0,8520), layer=3, texttype=0))
plcc_32_11_4x14_0mm_p1_2.add(gdstk.Label('%R', (0,0), layer=3, texttype=0))

lib.write_gds('PLCC-32_11.4x14.0mm_P1.27mm.gds')
